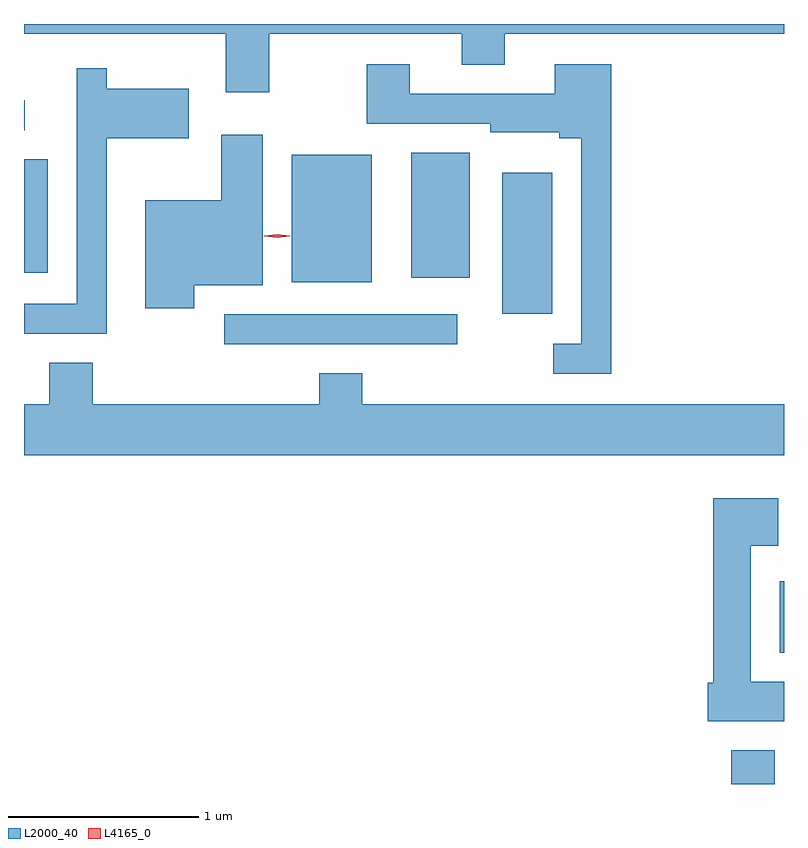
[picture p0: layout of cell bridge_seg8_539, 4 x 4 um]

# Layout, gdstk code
import gdstk
lib = gdstk.Library(unit=1e-6, precision=1e-09)
def R(c, l, rs):  # rectangles x0, y0, x1, y1
    for r in rs: c.add(gdstk.rectangle(r[:2], r[2:], *l))
def P(c, l, *ps):  # polygons
    for p in ps: c.add(gdstk.Polygon(p, *l))
L2000_40 = (2000, 40)
L4165_0 = (4165, 0)

bridge_seg8_539 = lib.new_cell('bridge_seg8_539')
R(bridge_seg8_539, L2000_40, [(462.551,1861.326,462.779,1861.504), (462.806,1862.016,462.828,1862.394), (459.883,1863.641,461.108,1863.799), (461.346,1863.801,461.609,1864.544), (460.236,1863.966,460.659,1864.639), (460.866,1863.991,461.174,1864.649), (458.828,1864.016,458.954,1864.614), (458.828,1864.766,458.833,1864.924)])
P(bridge_seg8_539, L2000_40, [(460.119,1865.276),(461.131,1865.276),(461.131,1865.111),(461.359,1865.111),(461.359,1865.276),(462.828,1865.276),(462.828,1865.326),(458.828,1865.326),(458.828,1865.276),(459.891,1865.276),(459.891,1864.966),(460.119,1864.966)],
  [(461.919,1865.114),(461.621,1865.114),(461.621,1864.959),(460.859,1864.959),(460.859,1865.114),(460.631,1865.114),(460.631,1864.801),(461.281,1864.801),(461.281,1864.756),(461.646,1864.756),(461.646,1864.726),(461.761,1864.726),(461.761,1863.644),(461.613,1863.644),(461.613,1863.486),(461.919,1863.486)],
  [(459.264,1864.726),(459.694,1864.726),(459.694,1864.984),(459.264,1864.984),(459.264,1865.093),(459.106,1865.093),(459.106,1863.854),(458.828,1863.854),(458.828,1863.696),(459.264,1863.696)],
  [(459.724,1863.951),(460.084,1863.951),(460.084,1864.744),(459.866,1864.744),(459.866,1864.399),(459.466,1864.399),(459.466,1863.831),(459.724,1863.831)],
  [(462.828,1863.324),(460.609,1863.324),(460.609,1863.489),(460.381,1863.489),(460.381,1863.324),(459.189,1863.324),(459.189,1863.544),(458.961,1863.544),(458.961,1863.324),(458.828,1863.324),(458.828,1863.056),(462.828,1863.056)],
  [(462.828,1861.864),(462.654,1861.864),(462.654,1862.581),(462.799,1862.581),(462.799,1862.829),(462.456,1862.829),(462.456,1861.859),(462.426,1861.859),(462.426,1861.656),(462.828,1861.656)])
P(bridge_seg8_539, L4165_0, [(460.16,1864.2),(460.093,1864.21),(460.093,1864.21),(460.093,1864.211),(460.16,1864.22),(460.226,1864.211),(460.226,1864.21),(460.226,1864.21)])

lib.write_gds('bridge_seg8_539.gds')
